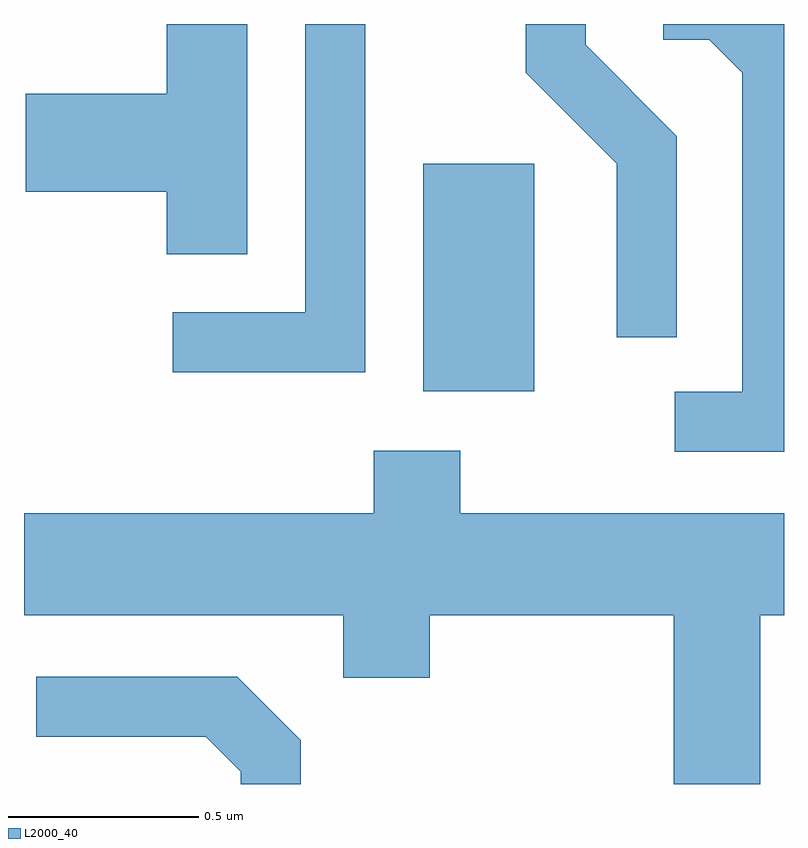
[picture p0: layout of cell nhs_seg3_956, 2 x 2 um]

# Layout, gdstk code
import gdstk
lib = gdstk.Library(unit=1e-6, precision=1e-09)
def R(c, l, rs):  # rectangles x0, y0, x1, y1
    for r in rs: c.add(gdstk.rectangle(r[:2], r[2:], *l))
def P(c, l, *ps):  # polygons
    for p in ps: c.add(gdstk.Polygon(p, *l))
L2000_40 = (2000, 40)

nhs_seg3_956 = lib.new_cell('nhs_seg3_956')
R(nhs_seg3_956, L2000_40, [(192.661,1250.926,192.954,1251.524)])
P(nhs_seg3_956, L2000_40, [(193.611,1251.892),(193.293,1251.892),(193.293,1251.851),(193.414,1251.851),(193.501,1251.764),(193.501,1250.924),(193.323,1250.924),(193.323,1250.766),(193.611,1250.766)],
  [(192.509,1251.892),(192.351,1251.892),(192.351,1251.134),(192.003,1251.134),(192.003,1250.976),(192.509,1250.976)],
  [(193.329,1251.597),(193.089,1251.837),(193.089,1251.892),(192.931,1251.892),(192.931,1251.764),(193.171,1251.524),(193.171,1251.068),(193.329,1251.068)],
  [(192.199,1251.892),(191.986,1251.892),(191.986,1251.709),(191.616,1251.709),(191.616,1251.451),(191.986,1251.451),(191.986,1251.286),(192.199,1251.286)],
  [(193.549,1250.336),(193.611,1250.336),(193.611,1250.604),(192.759,1250.604),(192.759,1250.769),(192.531,1250.769),(192.531,1250.604),(191.611,1250.604),(191.611,1250.336),(192.451,1250.336),(192.451,1250.171),(192.679,1250.171),(192.679,1250.336),(193.321,1250.336),(193.321,1249.892),(193.549,1249.892)],
  [(192.339,1250.007),(192.172,1250.174),(191.643,1250.174),(191.643,1250.016),(192.089,1250.016),(192.181,1249.924),(192.181,1249.892),(192.339,1249.892)])

lib.write_gds('nhs_seg3_956.gds')
